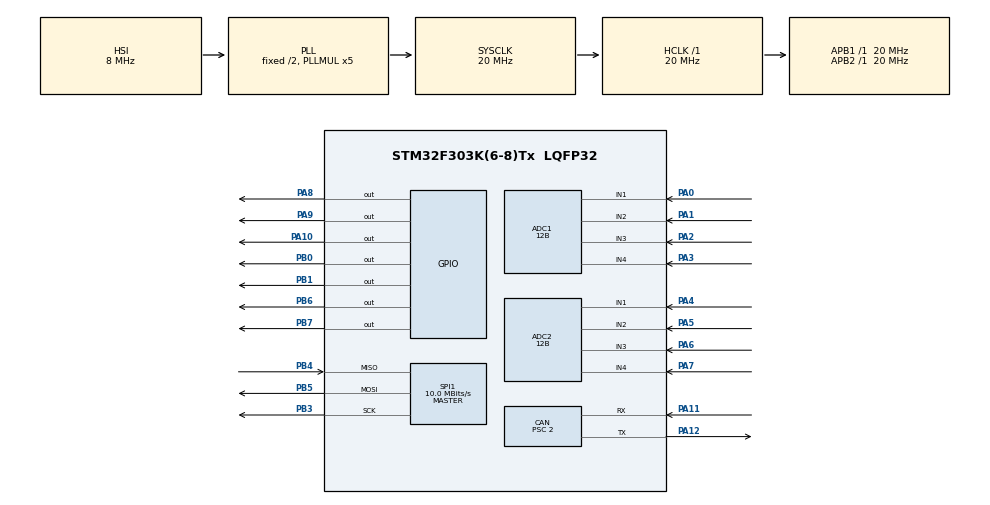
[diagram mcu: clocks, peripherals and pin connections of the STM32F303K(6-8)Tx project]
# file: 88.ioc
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ADC1.Channel-0\#ChannelRegularConversion=ADC_CHANNEL_1
ADC1.ClockPrescaler=ADC_CLOCK_SYNC_PCLK_DIV2
ADC1.ContinuousConvMode=DISABLE
ADC1.DMAContinuousRequests=DISABLE
ADC1.DataAlign=ADC_DATAALIGN_RIGHT
ADC1.DiscontinuousConvMode=DISABLE
ADC1.EOCSelection=ADC_EOC_SINGLE_CONV
ADC1.EnableAnalogWatchDog1=false
ADC1.EnableAnalogWatchDog2=false
ADC1.EnableAnalogWatchDog3=false
ADC1.EnableInjectedConversion=ENABLE
ADC1.EnableRegularConversion=ENABLE
ADC1.ExternalTrigConv=ADC_SOFTWARE_START
ADC1.ExternalTrigConvEdge=ADC_EXTERNALTRIGCONVEDGE_NONE
ADC1.ExternalTrigInjecConv=ADC_INJECTED_SOFTWARE_START
ADC1.ExternalTrigInjecConvEdge=ADC_EXTERNALTRIGINJECCONV_EDGE_NONE
ADC1.InjNumberOfConversion=4
ADC1.InjectedChannel-4\#ChannelInjectedConversion=ADC_CHANNEL_1
ADC1.InjectedChannel-5\#ChannelInjectedConversion=ADC_CHANNEL_2
ADC1.InjectedChannel-6\#ChannelInjectedConversion=ADC_CHANNEL_3
ADC1.InjectedChannel-8\#ChannelInjectedConversion=ADC_CHANNEL_4
ADC1.InjectedConvMode=None
ADC1.InjectedOffset-4\#ChannelInjectedConversion=0
ADC1.InjectedOffset-5\#ChannelInjectedConversion=0
ADC1.InjectedOffset-6\#ChannelInjectedConversion=0
ADC1.InjectedOffset-8\#ChannelInjectedConversion=0
ADC1.InjectedOffsetNumber-4\#ChannelInjectedConversion=ADC_OFFSET_NONE
ADC1.InjectedOffsetNumber-5\#ChannelInjectedConversion=ADC_OFFSET_NONE
ADC1.InjectedOffsetNumber-6\#ChannelInjectedConversion=ADC_OFFSET_NONE
ADC1.InjectedOffsetNumber-8\#ChannelInjectedConversion=ADC_OFFSET_NONE
ADC1.InjectedRank-4\#ChannelInjectedConversion=1
ADC1.InjectedRank-5\#ChannelInjectedConversion=2
ADC1.InjectedRank-6\#ChannelInjectedConversion=3
ADC1.InjectedRank-8\#ChannelInjectedConversion=4
ADC1.InjectedSamplingTime-4\#ChannelInjectedConversion=ADC_SAMPLETIME_1CYCLE_5
ADC1.InjectedSamplingTime-5\#ChannelInjectedConversion=ADC_SAMPLETIME_1CYCLE_5
ADC1.InjectedSamplingTime-6\#ChannelInjectedConversion=ADC_SAMPLETIME_1CYCLE_5
ADC1.InjectedSamplingTime-8\#ChannelInjectedConversion=ADC_SAMPLETIME_1CYCLE_5
ADC1.LowPowerAutoWait=DISABLE
ADC1.NbrOfConversion=1
ADC1.NbrOfConversionFlag=1
ADC1.Offset-0\#ChannelRegularConversion=0
ADC1.OffsetNumber-0\#ChannelRegularConversion=ADC_OFFSET_NONE
ADC1.Overrun=ADC_OVR_DATA_OVERWRITTEN
ADC1.QueueInjectedContext=DISABLE
ADC1.Rank-0\#ChannelRegularConversion=1
ADC1.Resolution=ADC_RESOLUTION_12B
ADC1.SamplingTime-0\#ChannelRegularConversion=ADC_SAMPLETIME_1CYCLE_5
ADC1.ScanConvMode=ADC_SCAN_ENABLE
ADC1.SubFamily=STM32F303x8
ADC1.master=1
ADC2.Channel-0\#ChannelRegularConversion=ADC_CHANNEL_1
ADC2.ClockPrescaler=ADC_CLOCK_SYNC_PCLK_DIV2
ADC2.ContinuousConvMode=DISABLE
ADC2.DMAContinuousRequests=DISABLE
ADC2.DataAlign=ADC_DATAALIGN_RIGHT
ADC2.DiscontinuousConvMode=DISABLE
ADC2.EOCSelection=ADC_EOC_SINGLE_CONV
ADC2.EnableAnalogWatchDog1=false
ADC2.EnableAnalogWatchDog2=false
ADC2.EnableAnalogWatchDog3=false
ADC2.EnableInjectedConversion=ENABLE
ADC2.EnableRegularConversion=ENABLE
ADC2.ExternalTrigConv=ADC_SOFTWARE_START
ADC2.ExternalTrigConvEdge=ADC_EXTERNALTRIGCONVEDGE_NONE
ADC2.ExternalTrigInjecConv=ADC_INJECTED_SOFTWARE_START
ADC2.ExternalTrigInjecConvEdge=ADC_EXTERNALTRIGINJECCONV_EDGE_NONE
ADC2.InjNumberOfConversion=4
ADC2.InjectedChannel-1\#ChannelInjectedConversion=ADC_CHANNEL_1
ADC2.InjectedChannel-2\#ChannelInjectedConversion=ADC_CHANNEL_2
ADC2.InjectedChannel-3\#ChannelInjectedConversion=ADC_CHANNEL_3
ADC2.InjectedChannel-5\#ChannelInjectedConversion=ADC_CHANNEL_4
ADC2.InjectedConvMode=None
ADC2.InjectedOffset-1\#ChannelInjectedConversion=0
ADC2.InjectedOffset-2\#ChannelInjectedConversion=0
ADC2.InjectedOffset-3\#ChannelInjectedConversion=0
ADC2.InjectedOffset-5\#ChannelInjectedConversion=0
ADC2.InjectedOffsetNumber-1\#ChannelInjectedConversion=ADC_OFFSET_NONE
ADC2.InjectedOffsetNumber-2\#ChannelInjectedConversion=ADC_OFFSET_NONE
ADC2.InjectedOffsetNumber-3\#ChannelInjectedConversion=ADC_OFFSET_NONE
ADC2.InjectedOffsetNumber-5\#ChannelInjectedConversion=ADC_OFFSET_NONE
ADC2.InjectedRank-1\#ChannelInjectedConversion=1
ADC2.InjectedRank-2\#ChannelInjectedConversion=2
ADC2.InjectedRank-3\#ChannelInjectedConversion=3
ADC2.InjectedRank-5\#ChannelInjectedConversion=4
ADC2.InjectedSamplingTime-1\#ChannelInjectedConversion=ADC_SAMPLETIME_1CYCLE_5
ADC2.InjectedSamplingTime-2\#ChannelInjectedConversion=ADC_SAMPLETIME_1CYCLE_5
ADC2.InjectedSamplingTime-3\#ChannelInjectedConversion=ADC_SAMPLETIME_1CYCLE_5
ADC2.InjectedSamplingTime-5\#ChannelInjectedConversion=ADC_SAMPLETIME_1CYCLE_5
ADC2.LowPowerAutoWait=DISABLE
ADC2.NbrOfConversion=1
ADC2.NbrOfConversionFlag=1
ADC2.Offset-0\#ChannelRegularConversion=0
ADC2.OffsetNumber-0\#ChannelRegularConversion=ADC_OFFSET_NONE
ADC2.Overrun=ADC_OVR_DATA_OVERWRITTEN
ADC2.QueueInjectedContext=DISABLE
ADC2.Rank-0\#ChannelRegularConversion=1
ADC2.Resolution=ADC_RESOLUTION_12B
ADC2.SamplingTime-0\#ChannelRegularConversion=ADC_SAMPLETIME_1CYCLE_5
ADC2.ScanConvMode=ADC_SCAN_ENABLE
ADC2.SubFamily=STM32F303x8
CAN.BS1=CAN_BS1_5TQ
CAN.BS2=CAN_BS2_4TQ
CAN.CalculateTimeQuantum=100.0
CAN.Mode=CAN_MODE_LOOPBACK
CAN.Prescaler=2
Mcu.Family=STM32F3
Mcu.Name=STM32F303K(6-8)Tx
Mcu.Package=LQFP32
NVIC.CAN_RX0_IRQn=true\:0\:0\:false\:false\:true\:true
NVIC.CAN_TX_IRQn=true\:0\:0\:false\:false\:true\:true
NVIC.PriorityGroup=NVIC_PRIORITYGROUP_4
PA0.Mode=IN1-Single-Ended
PA0.Signal=ADC1_IN1
PA1.Mode=IN2-Single-Ended
PA1.Signal=ADC1_IN2
PA10.Signal=GPIO_Output
PA11.Mode=Master
PA11.Signal=CAN_RX
PA12.Mode=Master
PA12.Signal=CAN_TX
PA13.Mode=Serial_Wire
PA13.Signal=SYS_JTMS-SWDIO
PA14.Mode=Serial_Wire
PA14.Signal=SYS_JTCK-SWCLK
PA2.Mode=IN3-Single-Ended
PA2.Signal=ADC1_IN3
PA3.Mode=IN4-Single-Ended
PA3.Signal=ADC1_IN4
PA4.Mode=IN1-Single-Ended
PA4.Signal=ADC2_IN1
PA5.Mode=IN2-Single-Ended
PA5.Signal=ADC2_IN2
PA6.Mode=IN3-Single-Ended
PA6.Signal=ADC2_IN3
PA7.Mode=IN4-Single-Ended
PA7.Signal=ADC2_IN4
PA8.Signal=GPIO_Output
PA9.Signal=GPIO_Output
PB0.Signal=GPIO_Output
PB1.Signal=GPIO_Output
PB3.Mode=Full_Duplex_Master
PB3.Signal=SPI1_SCK
PB4.Mode=Full_Duplex_Master
PB4.Signal=SPI1_MISO
PB5.Mode=Full_Duplex_Master
PB5.Signal=SPI1_MOSI
PB6.Signal=GPIO_Output
PB7.Signal=GPIO_Output
PF0\ /\ OSC_IN.Mode=HSE-External-Clock-Source
PF0\ /\ OSC_IN.Signal=RCC_OSC_IN
ProjectManager.HeapSize=0x200
ProjectManager.StackSize=0x400
ProjectManager.TargetToolchain=MDK-ARM V5
RCC.AHBFreq_Value=20000000
RCC.APB1Freq_Value=20000000
RCC.APB1TimFreq_Value=20000000
RCC.APB2Freq_Value=20000000
RCC.APB2TimFreq_Value=20000000
RCC.CortexFreq_Value=20000000
RCC.HCLKFreq_Value=20000000
RCC.HSE_VALUE=8000000
RCC.HSI_VALUE=8000000
RCC.PLLMUL=RCC_PLL_MUL5
RCC.SYSCLKFreq_VALUE=20000000
RCC.SYSCLKSourceVirtual=RCC_SYSCLKSOURCE_PLLCLK
SPI1.BaudRatePrescaler=SPI_BAUDRATEPRESCALER_2
SPI1.CalculateBaudRate=10.0 MBits/s
SPI1.DataSize=SPI_DATASIZE_16BIT
SPI1.Direction=SPI_DIRECTION_2LINES
SPI1.Mode=SPI_MODE_MASTER
SPI1.VirtualType=VM_MASTER
VP_TIM1_VS_ClockSourceINT.Mode=Internal
VP_TIM2_VS_ClockSourceINT.Mode=Internal
board=custom

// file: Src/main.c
#include "main.h"
#include "stm32f3xx_hal.h"

ADC_HandleTypeDef hadc1;
ADC_HandleTypeDef hadc2;

CAN_HandleTypeDef hcan;

SPI_HandleTypeDef hspi1;

TIM_HandleTypeDef htim1;
TIM_HandleTypeDef htim2;

uint32_t  centigrade1_first_byte;
uint32_t  centigrade1_second_byte;
uint32_t  centigrade2_first_byte;
uint32_t  centigrade2_second_byte;
uint32_t  centigrade3_first_byte;
uint32_t  centigrade3_second_byte;
uint32_t  centigrade4_first_byte;
uint32_t  centigrade4_second_byte;

/* USER CODE BEGIN PV */
/* Private variables ---------------------------------------------------------*/

/* USER CODE END PV */

void SystemClock_Config(void);
static void MX_GPIO_Init(void);
static void MX_ADC1_Init(void);
static void MX_ADC2_Init(void);
static void MX_TIM1_Init(void);
static void MX_CAN_Init(void);
static void MX_SPI1_Init(void);
static void MX_TIM2_Init(void);

void CS_SELECT1(void);
void CS_DESELECT1(void);
void Read_MAX318551(void);

void CS_SELECT2(void);
void CS_DESELECT2(void);
void Read_MAX318552(void);

void CS_SELECT3(void);
void CS_DESELECT3(void);
void Read_MAX318553(void);

void CS_SELECT4(void);
void CS_DESELECT4(void);
void Read_MAX318554(void);

/* USER CODE BEGIN PFP */
/* Private function prototypes -----------------------------------------------*/
static CanTxMsgTypeDef myTxMessage;
int counter = 0;
uint32_t v=0;
uint32_t v1=0;
uint32_t v2=0;
uint32_t v3=0;

uint16_t  internal=0;
uint16_t  centigrade1=0;
uint16_t  internal1=0;
uint16_t  centigrade2=0;
uint16_t  internal3=0;
uint16_t centigrade3=0;
uint16_t  centigrade4=0;
uint16_t  internal4=0;
//uint16_t  centigrade1_1;

uint32_t  data1[4];
uint32_t  data2[4];
uint32_t  data3[4];
uint32_t  data4[4];

//unsigned short TEST = 203;

float a[8]={0};

unsigned short number_1;
unsigned short number_2;
unsigned short number_3;
unsigned short number_4;

uint32_t  centigrade1_first_byte;
uint32_t  centigrade1_second_byte;
uint32_t  centigrade2_first_byte;
uint32_t  centigrade2_second_byte;
uint32_t   centigrade3_first_byte;
uint32_t  centigrade3_second_byte;
uint32_t  centigrade4_first_byte;
uint32_t  centigrade4_second_byte;

/* USER CODE END PFP */

/* USER CODE END PFP */

/* USER CODE BEGIN 0 */

void CS_SELECT1(void)
{
  HAL_GPIO_WritePin(GPIOB, GPIO_PIN_0, GPIO_PIN_RESET); //b1
  HAL_GPIO_WritePin(GPIOB, GPIO_PIN_1, GPIO_PIN_SET);   //b2
  HAL_GPIO_WritePin(GPIOB, GPIO_PIN_7, GPIO_PIN_SET);   //b3
  HAL_GPIO_WritePin(GPIOB, GPIO_PIN_6, GPIO_PIN_SET);   //b4
}

void CS_SELECT2(void)
{
  HAL_GPIO_WritePin(GPIOB, GPIO_PIN_0, GPIO_PIN_SET);   //b1
  HAL_GPIO_WritePin(GPIOB, GPIO_PIN_1, GPIO_PIN_RESET); //b2
  HAL_GPIO_WritePin(GPIOB, GPIO_PIN_7, GPIO_PIN_SET);   //b3
  HAL_GPIO_WritePin(GPIOB, GPIO_PIN_6, GPIO_PIN_SET);   //b4
}

void CS_SELECT3(void)
{
  HAL_GPIO_WritePin(GPIOB, GPIO_PIN_0, GPIO_PIN_SET);   //b1
  HAL_GPIO_WritePin(GPIOB, GPIO_PIN_1, GPIO_PIN_SET);   //b2
  HAL_GPIO_WritePin(GPIOB, GPIO_PIN_7, GPIO_PIN_RESET); //b3
  HAL_GPIO_WritePin(GPIOB, GPIO_PIN_6, GPIO_PIN_SET);   //b4
}

void CS_SELECT4(void)
{
  HAL_GPIO_WritePin(GPIOB, GPIO_PIN_0, GPIO_PIN_SET);   //b1
  HAL_GPIO_WritePin(GPIOB, GPIO_PIN_1, GPIO_PIN_SET);   //b2
  HAL_GPIO_WritePin(GPIOB, GPIO_PIN_7, GPIO_PIN_SET);   //b3
  HAL_GPIO_WritePin(GPIOB, GPIO_PIN_6, GPIO_PIN_RESET); //b4
}

	void CS_DESELECT1(void) {HAL_GPIO_WritePin(GPIOB, GPIO_PIN_0, GPIO_PIN_SET);} //b1
	void CS_DESELECT2(void) {HAL_GPIO_WritePin(GPIOB, GPIO_PIN_1, GPIO_PIN_SET);} //b2
	void CS_DESELECT3(void) {HAL_GPIO_WritePin(GPIOB, GPIO_PIN_7, GPIO_PIN_SET);} //b3
	void CS_DESELECT4(void) {HAL_GPIO_WritePin(GPIOB, GPIO_PIN_6, GPIO_PIN_SET);} //b4

	void Read_MAX318551(void) {HAL_SPI_Receive(&hspi1, (uint8_t *)&data1[0], 4, 100);}
	void Read_MAX318552(void) {HAL_SPI_Receive(&hspi1, (uint8_t *)&data2[0], 4, 100);}
	void Read_MAX318553(void) {HAL_SPI_Receive(&hspi1, (uint8_t *)&data3[0], 4, 100);}
	void Read_MAX318554(void) {HAL_SPI_Receive(&hspi1, (uint8_t *)&data4[0], 4, 100);}
/* USER CODE END 0 */

int main(void)
{

  /* USER CODE BEGIN 1 */
	//uint32_t myTimeout = 0U;
	//centigrade1_1 = 0;

	CanTxMsgTypeDef mypTxMsg;
	hcan.pTxMsg = &mypTxMsg;
	//CanRxMsgTypeDef mypRxMsg;
	CAN_FilterConfTypeDef sFilterConfig;
  /* USER CODE END 1 */

  /* MCU Configuration----------------------------------------------------------*/

  /* Reset of all peripherals, Initializes the Flash interface and the Systick. */
  HAL_Init();

  /* Configure the system clock */
  SystemClock_Config();

  /* Initialize all configured peripherals */
  MX_GPIO_Init();
  MX_ADC1_Init();
  MX_ADC2_Init();
  MX_TIM1_Init();
	MX_CAN_Init();
  MX_SPI1_Init();
  MX_TIM2_Init();
  /* USER CODE BEGIN 2 */

	hcan.State = HAL_CAN_STATE_RESET;

	HAL_CAN_Init(&hcan);

	mypTxMsg.IDE = CAN_ID_STD;
	mypTxMsg.StdId = 0x005;
	mypTxMsg.RTR = 0;
	mypTxMsg.DLC = 8;

	sFilterConfig.FilterNumber = 0;
	sFilterConfig.FilterScale = CAN_FILTERSCALE_32BIT;
	sFilterConfig.FilterIdHigh = 0x0000;
	sFilterConfig.FilterIdLow = 0x0000;
  sFilterConfig.FilterMaskIdHigh =0x0000;
	sFilterConfig.FilterMaskIdLow = 0x0000;
	sFilterConfig.FilterMode = CAN_FILTERMODE_IDLIST;
	sFilterConfig.FilterActivation = ENABLE;

	//HAL_CAN_ConfigFilter(&hcan,&sFilterConfig);

  /* USER CODE END 2 */
  HAL_GPIO_WritePin(GPIOB, GPIO_PIN_0, GPIO_PIN_SET);  //b1
  HAL_GPIO_WritePin(GPIOB, GPIO_PIN_1, GPIO_PIN_SET); //b2
  HAL_GPIO_WritePin(GPIOB, GPIO_PIN_7, GPIO_PIN_SET); //b3
  HAL_GPIO_WritePin(GPIOB, GPIO_PIN_6, GPIO_PIN_SET); //b4
  /* Infinite loop */
  /* USER CODE BEGIN WHILE */
  while (1)
  {

	//----------------ADC1------------------//
	HAL_ADCEx_InjectedStart(&hadc1); 						   																//START ADC1
	HAL_ADCEx_InjectedPollForConversion(&hadc1, 100);		  												//??????????????
	a[0]=((float)HAL_ADCEx_InjectedGetValue(&hadc1, ADC_INJECTED_RANK_1))*3/4095; //?????4 PA0
	a[1]=((float)HAL_ADCEx_InjectedGetValue(&hadc1, ADC_INJECTED_RANK_2))*3/4095; //?????4 PA1
	a[2]=((float)HAL_ADCEx_InjectedGetValue(&hadc1, ADC_INJECTED_RANK_3))*3/4095; //?????4 PA2
  a[3]=((float)HAL_ADCEx_InjectedGetValue(&hadc1, ADC_INJECTED_RANK_4))*3/4095; //?????4 PA3
	HAL_ADCEx_InjectedStop(&hadc1); 																							//STOP

	//-----------------ADC2------------------//
	HAL_ADCEx_InjectedStart(&hadc2); 						   																//START ADC2
	HAL_ADCEx_InjectedPollForConversion(&hadc2, 100);          										//??????????????
	a[4]=((float)HAL_ADCEx_InjectedGetValue(&hadc2, ADC_INJECTED_RANK_1))*3/4095; //?????1 PA4
	a[5]=((float)HAL_ADCEx_InjectedGetValue(&hadc2, ADC_INJECTED_RANK_2))*3/4095; //?????2 PA5
	a[6]=((float)HAL_ADCEx_InjectedGetValue(&hadc2, ADC_INJECTED_RANK_3))*3/4095; //?????3 PA6
	a[7]=((float)HAL_ADCEx_InjectedGetValue(&hadc2, ADC_INJECTED_RANK_4))*3/4095; //?????4 PA7
	HAL_ADCEx_InjectedStop(&hadc2);
  /* USER CODE END WHILE */
		 //1
	 CS_SELECT1();							 //b1
	 HAL_Delay(5);
	 Read_MAX318551();
   HAL_Delay(5);
   CS_DESELECT1();
  //2
	 CS_SELECT2();                 //b2
	 HAL_Delay(5);
	 Read_MAX318552();
   HAL_Delay(5);
   CS_DESELECT2();
  //3
	 CS_SELECT3();                //b3
	 HAL_Delay(5);
	 Read_MAX318553();
   HAL_Delay(5);
   CS_DESELECT3();
  //4
   CS_SELECT4();                //b4
   HAL_Delay(5);
   Read_MAX318554();
   HAL_Delay(5);
   CS_DESELECT4();

	//DA1
		v=(data1[0]<<16)|data1[1];
		internal1 = (v >> 4) & 0x7FF;
		internal1 *= 0.0625;
		if ((v >> 4) & 0x800)
			internal1 *= -1;
		if (v & 0x80000000)
		{
			v = 0xFFFFC000 | ((v >> 18) & 0x00003FFFF);
		}
		else
		{
			v >>= 18;
		}
		centigrade1 = v;
		centigrade1 *= (0.25);
		if (centigrade1 == 2047) {
		 centigrade1 = 0;
		}
		//printf("ineternal: %f couple: %f . \r \n",internal,centigrade);

//DA2
		v1=(data2[0]<<16)|data2[1];
		internal = (v1 >> 4) & 0x7FF;
	  internal *= 0.0625;
		if ((v1 >> 4) & 0x800)
			internal *= -1;
		if (v1 & 0x80000000)
		{
			v1 = 0xFFFFC000 | ((v1 >> 18) & 0x00003FFFF);
		}
		else
		{
			v1 >>= 18;
		}
	  centigrade2 = v1;
	  centigrade2 *= (0.25);
	  if (centigrade2 == 2047) {
			centigrade2 = 0;
		}
		//printf("ineternal: %f couple: %f . \r \n",internal,centigrade);

//DA3
		v2=(data3[0]<<16)|data3[1];
		internal3 = (v2 >> 4) & 0x7FF;
		internal3 *= 0.0625;
		if ((v2 >> 4) & 0x800)
			internal3 *= -1;
		if (v2 & 0x80000000)
		{
			v2 = 0xFFFFC000 | ((v2 >> 18) & 0x00003FFFF);
		}
		else
		{
			v2 >>= 18;
		}
		centigrade3 = v2;
		centigrade3 *= (0.25);
		if (centigrade3 == 2047)
		{
			centigrade3 = 0;
		}
	 //printf("ineternal: %f couple: %f . \r \n",internal,centigrade);

//DA4
		v3=(data4[0]<<16)|data4[1];
		internal4 = (v3 >> 4) & 0x7FF;
		internal4 *= 0.0625;
		if ((v3 >> 4) & 0x800)
			internal4 *= -1;
		if (v3 & 0x80000000)
		{
			v3 = 0xFFFFC000 | ((v3 >> 18) & 0x00003FFFF);
		}
		else
		{
			v3 >>= 18;
		}
		centigrade4 = v3;
		centigrade4 *= (0.25);
		if (centigrade4 == 2047)
		{
			centigrade4 = 0;
		}

	HAL_CAN_Transmit_IT(&hcan);

  }
  /* USER CODE END 3 */
}

void SystemClock_Config(void)
{

  RCC_OscInitTypeDef RCC_OscInitStruct;
  RCC_ClkInitTypeDef RCC_ClkInitStruct;
  RCC_PeriphCLKInitTypeDef PeriphClkInit;

    /**Initializes the CPU, AHB and APB busses clocks
    */
  RCC_OscInitStruct.OscillatorType = RCC_OSCILLATORTYPE_HSI;
  RCC_OscInitStruct.HSIState = RCC_HSI_ON;
  RCC_OscInitStruct.HSICalibrationValue = 16;
  RCC_OscInitStruct.PLL.PLLState = RCC_PLL_ON;
  RCC_OscInitStruct.PLL.PLLSource = RCC_PLLSOURCE_HSI;
  RCC_OscInitStruct.PLL.PLLMUL = RCC_PLL_MUL5;
  if (HAL_RCC_OscConfig(&RCC_OscInitStruct) != HAL_OK)
  {
    _Error_Handler(__FILE__, __LINE__);
  }

    /**Initializes the CPU, AHB and APB busses clocks
    */
  RCC_ClkInitStruct.ClockType = RCC_CLOCKTYPE_HCLK|RCC_CLOCKTYPE_SYSCLK
                              |RCC_CLOCKTYPE_PCLK1|RCC_CLOCKTYPE_PCLK2;
  RCC_ClkInitStruct.SYSCLKSource = RCC_SYSCLKSOURCE_PLLCLK;
  RCC_ClkInitStruct.AHBCLKDivider = RCC_SYSCLK_DIV1;
  RCC_ClkInitStruct.APB1CLKDivider = RCC_HCLK_DIV1;
  RCC_ClkInitStruct.APB2CLKDivider = RCC_HCLK_DIV1;

  if (HAL_RCC_ClockConfig(&RCC_ClkInitStruct, FLASH_LATENCY_0) != HAL_OK)
  {
    _Error_Handler(__FILE__, __LINE__);
  }

  PeriphClkInit.PeriphClockSelection = RCC_PERIPHCLK_TIM1;
  PeriphClkInit.Tim1ClockSelection = RCC_TIM1CLK_HCLK;
  if (HAL_RCCEx_PeriphCLKConfig(&PeriphClkInit) != HAL_OK)
  {
    _Error_Handler(__FILE__, __LINE__);
  }

    /**Configure the Systick interrupt time
    */
  HAL_SYSTICK_Config(HAL_RCC_GetHCLKFreq()/1000);

    /**Configure the Systick
    */
  HAL_SYSTICK_CLKSourceConfig(SYSTICK_CLKSOURCE_HCLK);

  /* SysTick_IRQn interrupt configuration */
  HAL_NVIC_SetPriority(SysTick_IRQn, 0, 0);
}

/* ADC1 init function */
static void MX_ADC1_Init(void)
{

  ADC_MultiModeTypeDef multimode;
  ADC_ChannelConfTypeDef sConfig;
  ADC_InjectionConfTypeDef sConfigInjected;

    /**Common config
    */
  hadc1.Instance = ADC1;
  hadc1.Init.ClockPrescaler = ADC_CLOCK_SYNC_PCLK_DIV2;
  hadc1.Init.Resolution = ADC_RESOLUTION_12B;
  hadc1.Init.ScanConvMode = ADC_SCAN_ENABLE;
  hadc1.Init.ContinuousConvMode = DISABLE;
  hadc1.Init.DiscontinuousConvMode = DISABLE;
  hadc1.Init.ExternalTrigConvEdge = ADC_EXTERNALTRIGCONVEDGE_NONE;
  hadc1.Init.ExternalTrigConv = ADC_SOFTWARE_START;
  hadc1.Init.DataAlign = ADC_DATAALIGN_RIGHT;
  hadc1.Init.NbrOfConversion = 1;
  hadc1.Init.DMAContinuousRequests = DISABLE;
  hadc1.Init.EOCSelection = ADC_EOC_SINGLE_CONV;
  hadc1.Init.LowPowerAutoWait = DISABLE;
  hadc1.Init.Overrun = ADC_OVR_DATA_OVERWRITTEN;
  if (HAL_ADC_Init(&hadc1) != HAL_OK)
  {
    _Error_Handler(__FILE__, __LINE__);
  }

    /**Configure the ADC multi-mode
    */
  multimode.Mode = ADC_MODE_INDEPENDENT;
  if (HAL_ADCEx_MultiModeConfigChannel(&hadc1, &multimode) != HAL_OK)
  {
    _Error_Handler(__FILE__, __LINE__);
  }

    /**Configure Regular Channel
    */
  sConfig.Channel = ADC_CHANNEL_1;
  sConfig.Rank = ADC_REGULAR_RANK_1;
  sConfig.SingleDiff = ADC_SINGLE_ENDED;
  sConfig.SamplingTime = ADC_SAMPLETIME_1CYCLE_5;
  sConfig.OffsetNumber = ADC_OFFSET_NONE;
  sConfig.Offset = 0;
  if (HAL_ADC_ConfigChannel(&hadc1, &sConfig) != HAL_OK)
  {
    _Error_Handler(__FILE__, __LINE__);
  }

    /**Configure Injected Channel
    */
  sConfigInjected.InjectedChannel = ADC_CHANNEL_1;
  sConfigInjected.InjectedRank = ADC_INJECTED_RANK_1;
  sConfigInjected.InjectedSingleDiff = ADC_SINGLE_ENDED;
  sConfigInjected.InjectedNbrOfConversion = 4;
  sConfigInjected.InjectedSamplingTime = ADC_SAMPLETIME_1CYCLE_5;
  sConfigInjected.ExternalTrigInjecConvEdge = ADC_EXTERNALTRIGINJECCONV_EDGE_NONE;
  sConfigInjected.ExternalTrigInjecConv = ADC_INJECTED_SOFTWARE_START;
  sConfigInjected.AutoInjectedConv = DISABLE;
  sConfigInjected.InjectedDiscontinuousConvMode = DISABLE;
  sConfigInjected.QueueInjectedContext = DISABLE;
  sConfigInjected.InjectedOffset = 0;
  sConfigInjected.InjectedOffsetNumber = ADC_OFFSET_NONE;
  if (HAL_ADCEx_InjectedConfigChannel(&hadc1, &sConfigInjected) != HAL_OK)
  {
    _Error_Handler(__FILE__, __LINE__);
  }

    /**Configure Injected Channel
    */
  sConfigInjected.InjectedChannel = ADC_CHANNEL_2;
  sConfigInjected.InjectedRank = ADC_INJECTED_RANK_2;
  if (HAL_ADCEx_InjectedConfigChannel(&hadc1, &sConfigInjected) != HAL_OK)
  {
    _Error_Handler(__FILE__, __LINE__);
  }

    /**Configure Injected Channel
    */
  sConfigInjected.InjectedChannel = ADC_CHANNEL_3;
  sConfigInjected.InjectedRank = ADC_INJECTED_RANK_3;
  if (HAL_ADCEx_InjectedConfigChannel(&hadc1, &sConfigInjected) != HAL_OK)
  {
    _Error_Handler(__FILE__, __LINE__);
  }

    /**Configure Injected Channel
    */
  sConfigInjected.InjectedChannel = ADC_CHANNEL_4;
  sConfigInjected.InjectedRank = ADC_INJECTED_RANK_4;
  if (HAL_ADCEx_InjectedConfigChannel(&hadc1, &sConfigInjected) != HAL_OK)
  {
    _Error_Handler(__FILE__, __LINE__);
  }

}

/* ADC2 init function */
static void MX_ADC2_Init(void)
{

  ADC_ChannelConfTypeDef sConfig;
  ADC_InjectionConfTypeDef sConfigInjected;

    /**Common config
    */
  hadc2.Instance = ADC2;
  hadc2.Init.ClockPrescaler = ADC_CLOCK_SYNC_PCLK_DIV2;
  hadc2.Init.Resolution = ADC_RESOLUTION_12B;
  hadc2.Init.ScanConvMode = ADC_SCAN_ENABLE;
  hadc2.Init.ContinuousConvMode = DISABLE;
  hadc2.Init.DiscontinuousConvMode = DISABLE;
  hadc2.Init.ExternalTrigConvEdge = ADC_EXTERNALTRIGCONVEDGE_NONE;
  hadc2.Init.ExternalTrigConv = ADC_SOFTWARE_START;
  hadc2.Init.DataAlign = ADC_DATAALIGN_RIGHT;
  hadc2.Init.NbrOfConversion = 1;
  hadc2.Init.DMAContinuousRequests = DISABLE;
  hadc2.Init.EOCSelection = ADC_EOC_SINGLE_CONV;
  hadc2.Init.LowPowerAutoWait = DISABLE;
  hadc2.Init.Overrun = ADC_OVR_DATA_OVERWRITTEN;
  if (HAL_ADC_Init(&hadc2) != HAL_OK)
  {
    _Error_Handler(__FILE__, __LINE__);
  }

    /**Configure Regular Channel
    */
  sConfig.Channel = ADC_CHANNEL_1;
  sConfig.Rank = ADC_REGULAR_RANK_1;
  sConfig.SingleDiff = ADC_SINGLE_ENDED;
  sConfig.SamplingTime = ADC_SAMPLETIME_1CYCLE_5;
  sConfig.OffsetNumber = ADC_OFFSET_NONE;
  sConfig.Offset = 0;
  if (HAL_ADC_ConfigChannel(&hadc2, &sConfig) != HAL_OK)
  {
    _Error_Handler(__FILE__, __LINE__);
  }

    /**Configure Injected Channel
    */
  sConfigInjected.InjectedChannel = ADC_CHANNEL_1;
  sConfigInjected.InjectedRank = ADC_INJECTED_RANK_1;
  sConfigInjected.InjectedSingleDiff = ADC_SINGLE_ENDED;
  sConfigInjected.InjectedNbrOfConversion = 4;
  sConfigInjected.InjectedSamplingTime = ADC_SAMPLETIME_1CYCLE_5;
  sConfigInjected.ExternalTrigInjecConvEdge = ADC_EXTERNALTRIGINJECCONV_EDGE_NONE;
  sConfigInjected.ExternalTrigInjecConv = ADC_INJECTED_SOFTWARE_START;
  sConfigInjected.AutoInjectedConv = DISABLE;
  sConfigInjected.InjectedDiscontinuousConvMode = DISABLE;
  sConfigInjected.QueueInjectedContext = DISABLE;
  sConfigInjected.InjectedOffset = 0;
  sConfigInjected.InjectedOffsetNumber = ADC_OFFSET_NONE;
  if (HAL_ADCEx_InjectedConfigChannel(&hadc2, &sConfigInjected) != HAL_OK)
  {
    _Error_Handler(__FILE__, __LINE__);
  }

    /**Configure Injected Channel
    */
  sConfigInjected.InjectedChannel = ADC_CHANNEL_2;
  sConfigInjected.InjectedRank = ADC_INJECTED_RANK_2;
  if (HAL_ADCEx_InjectedConfigChannel(&hadc2, &sConfigInjected) != HAL_OK)
  {
    _Error_Handler(__FILE__, __LINE__);
  }

    /**Configure Injected Channel
    */
  sConfigInjected.InjectedChannel = ADC_CHANNEL_3;
  sConfigInjected.InjectedRank = ADC_INJECTED_RANK_3;
  if (HAL_ADCEx_InjectedConfigChannel(&hadc2, &sConfigInjected) != HAL_OK)
  {
    _Error_Handler(__FILE__, __LINE__);
  }

    /**Configure Injected Channel
    */
  sConfigInjected.InjectedChannel = ADC_CHANNEL_4;
  sConfigInjected.InjectedRank = ADC_INJECTED_RANK_4;
  if (HAL_ADCEx_InjectedConfigChannel(&hadc2, &sConfigInjected) != HAL_OK)
  {
    _Error_Handler(__FILE__, __LINE__);
  }

}

/* CAN init function */
static void MX_CAN_Init(void)
{

  hcan.Instance = CAN;
  hcan.Init.Prescaler = 2;
  hcan.Init.Mode = CAN_MODE_NORMAL;
  hcan.Init.SJW = CAN_SJW_1TQ;
  hcan.Init.BS1 = CAN_BS1_5TQ;
  hcan.Init.BS2 = CAN_BS2_4TQ;
  hcan.Init.TTCM = DISABLE;
  hcan.Init.ABOM = DISABLE;
  hcan.Init.AWUM = DISABLE;
  hcan.Init.NART = DISABLE;
  hcan.Init.RFLM = DISABLE;
  hcan.Init.TXFP = DISABLE;
  if (HAL_CAN_Init(&hcan) != HAL_OK)
  {
    _Error_Handler(__FILE__, __LINE__);
  }

}

/* SPI1 init function */
static void MX_SPI1_Init(void)
{

  /* SPI1 parameter configuration*/
  hspi1.Instance = SPI1;
  hspi1.Init.Mode = SPI_MODE_MASTER;
  hspi1.Init.Direction = SPI_DIRECTION_2LINES;
  hspi1.Init.DataSize = SPI_DATASIZE_16BIT;
  hspi1.Init.CLKPolarity = SPI_POLARITY_LOW;
  hspi1.Init.CLKPhase = SPI_PHASE_1EDGE;
  hspi1.Init.NSS = SPI_NSS_SOFT;
  hspi1.Init.BaudRatePrescaler = SPI_BAUDRATEPRESCALER_2;
  hspi1.Init.FirstBit = SPI_FIRSTBIT_MSB;
  hspi1.Init.TIMode = SPI_TIMODE_DISABLE;
  hspi1.Init.CRCCalculation = SPI_CRCCALCULATION_DISABLE;
  hspi1.Init.CRCPolynomial = 7;
  hspi1.Init.CRCLength = SPI_CRC_LENGTH_DATASIZE;
  hspi1.Init.NSSPMode = SPI_NSS_PULSE_ENABLE;
  if (HAL_SPI_Init(&hspi1) != HAL_OK)
  {
    _Error_Handler(__FILE__, __LINE__);
  }

}

/* TIM1 init function */
static void MX_TIM1_Init(void)
{

  TIM_ClockConfigTypeDef sClockSourceConfig;
  TIM_MasterConfigTypeDef sMasterConfig;

  htim1.Instance = TIM1;
  htim1.Init.Prescaler = 0;
  htim1.Init.CounterMode = TIM_COUNTERMODE_UP;
  htim1.Init.Period = 0;
  htim1.Init.ClockDivision = TIM_CLOCKDIVISION_DIV1;
  htim1.Init.RepetitionCounter = 0;
  htim1.Init.AutoReloadPreload = TIM_AUTORELOAD_PRELOAD_DISABLE;
  if (HAL_TIM_Base_Init(&htim1) != HAL_OK)
  {
    _Error_Handler(__FILE__, __LINE__);
  }

  sClockSourceConfig.ClockSource = TIM_CLOCKSOURCE_INTERNAL;
  if (HAL_TIM_ConfigClockSource(&htim1, &sClockSourceConfig) != HAL_OK)
  {
    _Error_Handler(__FILE__, __LINE__);
  }

  sMasterConfig.MasterOutputTrigger = TIM_TRGO_RESET;
  sMasterConfig.MasterOutputTrigger2 = TIM_TRGO2_RESET;
  sMasterConfig.MasterSlaveMode = TIM_MASTERSLAVEMODE_DISABLE;
  if (HAL_TIMEx_MasterConfigSynchronization(&htim1, &sMasterConfig) != HAL_OK)
  {
    _Error_Handler(__FILE__, __LINE__);
  }

}

/* TIM2 init function */
static void MX_TIM2_Init(void)
{

  TIM_ClockConfigTypeDef sClockSourceConfig;
  TIM_MasterConfigTypeDef sMasterConfig;

  htim2.Instance = TIM2;
  htim2.Init.Prescaler = 0;
  htim2.Init.CounterMode = TIM_COUNTERMODE_UP;
  htim2.Init.Period = 0;
  htim2.Init.ClockDivision = TIM_CLOCKDIVISION_DIV1;
  htim2.Init.AutoReloadPreload = TIM_AUTORELOAD_PRELOAD_DISABLE;
  if (HAL_TIM_Base_Init(&htim2) != HAL_OK)
  {
    _Error_Handler(__FILE__, __LINE__);
  }

  sClockSourceConfig.ClockSource = TIM_CLOCKSOURCE_INTERNAL;
  if (HAL_TIM_ConfigClockSource(&htim2, &sClockSourceConfig) != HAL_OK)
  {
    _Error_Handler(__FILE__, __LINE__);
  }

  sMasterConfig.MasterOutputTrigger = TIM_TRGO_RESET;
  sMasterConfig.MasterSlaveMode = TIM_MASTERSLAVEMODE_DISABLE;
  if (HAL_TIMEx_MasterConfigSynchronization(&htim2, &sMasterConfig) != HAL_OK)
  {
    _Error_Handler(__FILE__, __LINE__);
  }

}

/** Configure pins as
        * Analog
        * Input
        * Output
        * EVENT_OUT
        * EXTI
*/
static void MX_GPIO_Init(void)
{

  GPIO_InitTypeDef GPIO_InitStruct;

  /* GPIO Ports Clock Enable */
  __HAL_RCC_GPIOF_CLK_ENABLE();
  __HAL_RCC_GPIOA_CLK_ENABLE();
  __HAL_RCC_GPIOB_CLK_ENABLE();

  /*Configure GPIO pin Output Level */
  HAL_GPIO_WritePin(GPIOB, GPIO_PIN_0|GPIO_PIN_1|GPIO_PIN_6|GPIO_PIN_7, GPIO_PIN_RESET);

  /*Configure GPIO pin Output Level */
  HAL_GPIO_WritePin(GPIOA, GPIO_PIN_8|GPIO_PIN_9|GPIO_PIN_10, GPIO_PIN_RESET);

  /*Configure GPIO pins : PB0 PB1 PB6 PB7 */
  GPIO_InitStruct.Pin = GPIO_PIN_0|GPIO_PIN_1|GPIO_PIN_6|GPIO_PIN_7;
  GPIO_InitStruct.Mode = GPIO_MODE_OUTPUT_PP;
  GPIO_InitStruct.Pull = GPIO_NOPULL;
  GPIO_InitStruct.Speed = GPIO_SPEED_FREQ_LOW;
  HAL_GPIO_Init(GPIOB, &GPIO_InitStruct);

  /*Configure GPIO pins : PA8 PA9 PA10 */
  GPIO_InitStruct.Pin = GPIO_PIN_8|GPIO_PIN_9|GPIO_PIN_10;
  GPIO_InitStruct.Mode = GPIO_MODE_OUTPUT_PP;
  GPIO_InitStruct.Pull = GPIO_NOPULL;
  GPIO_InitStruct.Speed = GPIO_SPEED_FREQ_LOW;
  HAL_GPIO_Init(GPIOA, &GPIO_InitStruct);

}

void _Error_Handler(char *file, int line)
{
  while(1)
  {
  }
}

/************************ (C) COPYRIGHT STMicroelectronics *****END OF FILE****/
